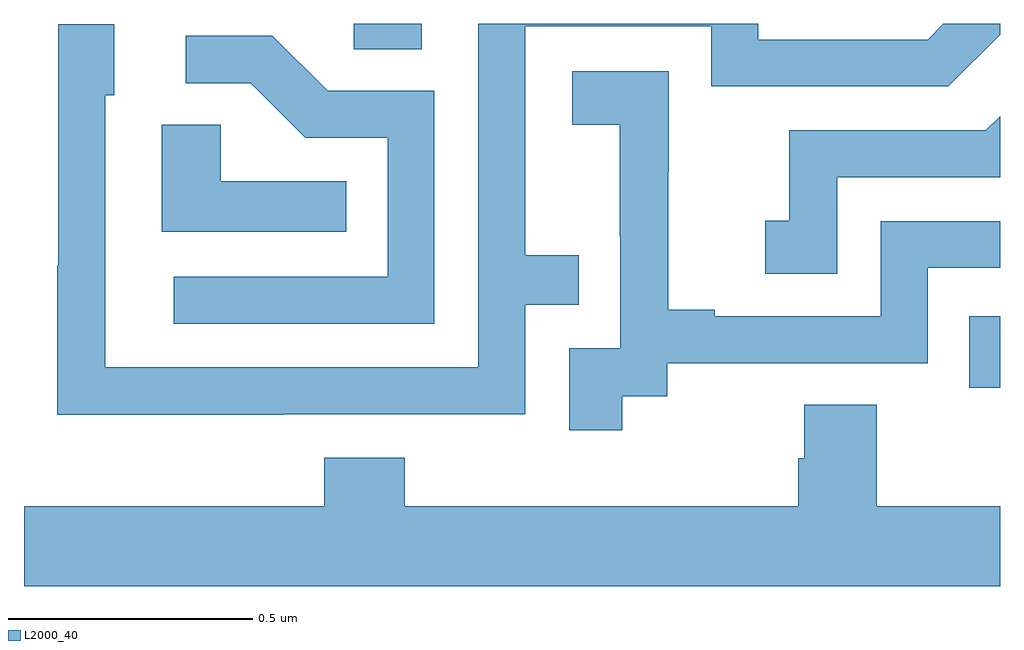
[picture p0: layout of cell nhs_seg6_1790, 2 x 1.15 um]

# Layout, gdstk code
import gdstk
lib = gdstk.Library(unit=1e-6, precision=1e-09)
def R(c, l, rs):  # rectangles x0, y0, x1, y1
    for r in rs: c.add(gdstk.rectangle(r[:2], r[2:], *l))
def P(c, l, *ps):  # polygons
    for p in ps: c.add(gdstk.Polygon(p, *l))
L2000_40 = (2000, 40)

nhs_seg6_1790 = lib.new_cell('nhs_seg6_1790')
R(nhs_seg6_1790, L2000_40, [(135.937,935.754,136,935.901), (134.676,936.448,134.815,936.5)])
P(nhs_seg6_1790, L2000_40, [(134.531,935.7),(135.027,935.7),(135.027,935.925),(135.137,935.925),(135.137,936.026),(135.027,936.026),(135.027,936.495),(135.408,936.495),(135.408,936.372),(135.894,936.372),(136,936.478),(136,936.5),(135.884,936.5),(135.852,936.468),(135.505,936.468),(135.505,936.5),(134.931,936.5),(134.931,935.796),(134.166,935.796),(134.166,936.354),(134.185,936.354),(134.185,936.499),(134.07,936.499),(134.07,936.005),(134.068,936.005),(134.068,935.699),(134.531,935.699)],
  [(134.841,936.363),(134.622,936.363),(134.509,936.476),(134.331,936.476),(134.331,936.378),(134.465,936.378),(134.576,936.267),(134.745,936.267),(134.745,935.982),(134.307,935.982),(134.307,935.886),(134.841,935.886)],
  [(135.226,935.737),(135.318,935.737),(135.318,935.805),(135.852,935.805),(135.852,936),(136,936),(136,936.096),(135.756,936.096),(135.756,935.901),(135.415,935.901),(135.415,935.914),(135.32,935.914),(135.32,936.197),(135.321,936.197),(135.321,936.403),(135.123,936.403),(135.123,936.293),(135.221,936.293),(135.221,936.065),(135.222,936.065),(135.222,935.835),(135.117,935.835),(135.117,935.667),(135.226,935.667)],
  [(135.666,936.186),(136,936.186),(136,936.311),(135.971,936.282),(135.568,936.282),(135.568,936.097),(135.519,936.097),(135.519,935.988),(135.666,935.988)],
  [(134.66,936.178),(134.403,936.178),(134.403,936.293),(134.282,936.293),(134.282,936.074),(134.66,936.074)],
  [(136,935.512),(135.747,935.512),(135.747,935.72),(135.599,935.72),(135.599,935.61),(135.587,935.61),(135.587,935.512),(134.78,935.512),(134.78,935.611),(134.615,935.611),(134.615,935.512),(134,935.512),(134,935.348),(136,935.348)])

lib.write_gds('nhs_seg6_1790.gds')
